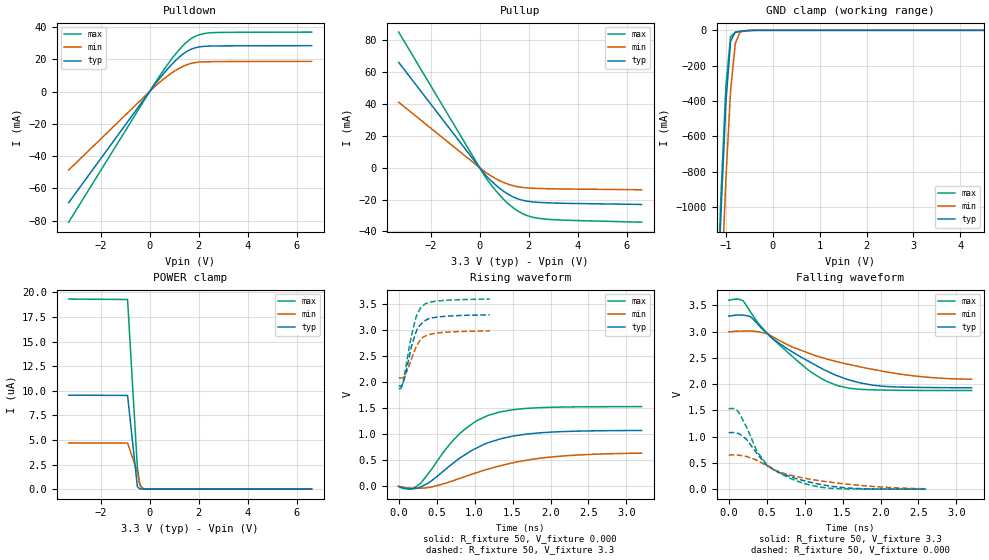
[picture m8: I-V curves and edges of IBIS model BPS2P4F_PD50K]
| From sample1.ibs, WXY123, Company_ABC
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|   Model BPS2P4F_PD50K
[Model]   BPS2P4F_PD50K
Model_type   I/O
Polarity   Non-Inverting
Enable   Active-High
Vinl   = 0.8V
Vinh   = 2V
Vmeas   = 1.65V
Cref   = 1.0pF
Vref   = 0V
Rref   = 1Mohms
C_comp   1.414pF NA   NA
[Temperature Range]   25   125   0
[Voltage Range]   3.3V   3.0V   3.6V
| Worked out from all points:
|   slope of the pulldown table from 0 to 0.495 V, typ, clamps not added: 50.4 ohm
|   slope of the pullup table from 0 to 0.495 V, typ, clamps not added: 57.6 ohm
|   GND clamp passes 1 mA (typ) near -0.52 V on its own axis
|   rising waveform, R_fixture 50, V_fixture 0.000: 20-80 % time 697ps typ, 964ps min, 570ps max; typ from 0 V to 1.07 V
|   rising waveform, R_fixture 50, V_fixture 3.3: 20-80 % time 149ps typ, 159ps min, 144ps max; typ from 1.93 V to 3.29 V
|   falling waveform, R_fixture 50, V_fixture 3.3: 20-80 % time 900ps typ, 1.23ns min, 750ps max; typ from 3.3 V to 1.93 V
|   falling waveform, R_fixture 50, V_fixture 0.000: 20-80 % time 579ps typ, 917ps min, 453ps max; typ from 1.08 V to 0.002 V
[Pulldown]
| voltage   I(typ)   I(min)   I(max)
-3.3V     -68.87mA   -48.66mA   -80.98mA
400mV     8.038mA    5.623mA    9.519mA
800mV     15.18mA    10.46mA    18.18mA
1.1V      19.84mA    13.49mA    24.03mA
1.4V      23.69mA    15.89mA    29.11mA
1.6V      25.58mA    17.05mA    31.83mA
2V        27.61mA    18.24mA    35.09mA
2.5V      28.21mA    18.53mA    36.45mA
6.6V      28.45mA    18.72mA    36.86mA
[Pullup]
| voltage   I(typ)   I(min)   I(max)
-3.3V     65.98mA    40.99mA    84.97mA
200mV     -3.908mA   -2.396mA   -5.05mA
300mV     -5.709mA   -3.492mA   -7.408mA
800mV     -12.78mA   -8.056mA   -16.97mA
1.3V      -17.84mA   -11.04mA   -24.36mA
1.6V      -19.78mA   -12.08mA   -27.56mA
1.9V      -20.93mA   -12.63mA   -29.83mA
2.5V      -21.85mA   -13.09mA   -31.95mA
3.5V      -22.36mA   -13.39mA   -32.95mA
6.6V      -23.08mA   -13.85mA   -34.19mA
[GND Clamp]
|  voltage   I(typ)   I(min)   I(max)
-3.3V     -17.71A    -17.93A    -17.8A
-1.2V     -1.683A    -2.14A     -1.588A
-1.1V     -1.004A    -1.466A    -902.5mA
-1V       -407.9mA   -843.5mA   -315.1mA
-900mV    -62.04mA   -341.1mA   -35.65mA
-800mV    -10.04mA   -74.38mA   -11.36mA
-700mV    -5.245mA   -10.59mA   -6.8mA
-500mV    -607uA     -1.16mA    -870.2uA
6.6V      36.16uA    18.81uA    54.3uA
[POWER Clamp]
|  voltage   I(typ)   I(min)   I(max)
-3.3V     9.559uA    4.696uA    19.33uA
-900mV    9.532uA    4.684uA    19.29uA
-500mV    231.6nA    1.744uA    2.194uA
-400mV    43.2nA     434.4nA    465.5nA
-300mV    11.4nA     104.4nA    107.2nA
0V        0A         0A         0A
6.6V      0A         0A         0A
| variable   typ   min   max
[Ramp]
dV/dt_r  0.64368V/0.69742ns   0.382913V/0.964116ns   0.9183V/0.570088ns
dV/dt_f  0.82068V/0.899662ns   0.54312V/1.2346ns   1.03182V/0.750204ns
R_load   = 50
[Rising Waveform]
R_fixture   = 50
V_fixture   = 0.000
V_fixture_min   = 0.000
V_fixture_max   = 0.000
| time   V(typ)   V(min)   V(max)
0s        0V         0V         0V
160ps     -40.54mV   -33.29mV   -52.45mV
288ps     -11.16mV   -34.14mV   57.49mV
416ps     88.32mV    -14.13mV   297mV
768ps     502mV      134.9mV    959mV
992ps     712.1mV    247.1mV    1.226V
1.184ns   840.3mV    334.6mV    1.365V
1.504ns   963.8mV    452.7mV    1.47V
1.856ns   1.027V     538.9mV    1.51V
3.2ns     1.073V     638.2mV    1.53V
[Rising Waveform]
R_fixture   = 50
V_fixture   = 3.3
V_fixture_min   = 3.0
V_fixture_max   = 3.6
| time   V(typ)   V(min)   V(max)
0s        1.929V     2.083V     1.879V
48ps      1.954V     2.079V     1.937V
84ps      2.108V     2.147V     2.196V
120ps     2.354V     2.247V     2.508V
168ps     2.676V     2.443V     2.877V
216ps     2.903V     2.626V     3.18V
300ps     3.121V     2.836V     3.442V
384ps     3.21V      2.906V     3.52V
504ps     3.247V     2.942V     3.553V
1.2ns     3.29V      2.983V     3.592V
[Falling Waveform]
R_fixture   = 50
V_fixture   = 3.3
V_fixture_min   = 3.0
V_fixture_max   = 3.6
| time   V(typ)   V(min)   V(max)
0s        3.299V     2.999V     3.599V
192ps     3.315V     3.011V     3.587V
288ps     3.284V     3.012V     3.374V
544ps     2.918V     2.931V     2.911V
896ps     2.564V     2.678V     2.455V
1.12ns    2.382V     2.554V     2.198V
1.408ns   2.172V     2.435V     1.986V
1.728ns   2.026V     2.331V     1.903V
2.048ns   1.959V     2.242V     1.887V
3.2ns     1.931V     2.094V     1.879V
[Falling Waveform]
R_fixture   = 50
V_fixture   = 0.000
V_fixture_min   = 0.000
V_fixture_max   = 0.000
| time   V(typ)   V(min)   V(max)
0s        1.076V     650.3mV    1.532V
78ps      1.079V     654.5mV    1.533V
130ps     1.059V     648mV      1.47V
234ps     951.2mV    624.1mV    1.185V
364ps     695.1mV    556.4mV    750.8mV
494ps     465.8mV    454.1mV    483mV
832ps     229.6mV    260.6mV    193.4mV
1.092ns   126.8mV    186.2mV    71.47mV
1.352ns   57.95mV    132mV      17.06mV
2.6ns     1.582mV    8.772mV    1.136mV
